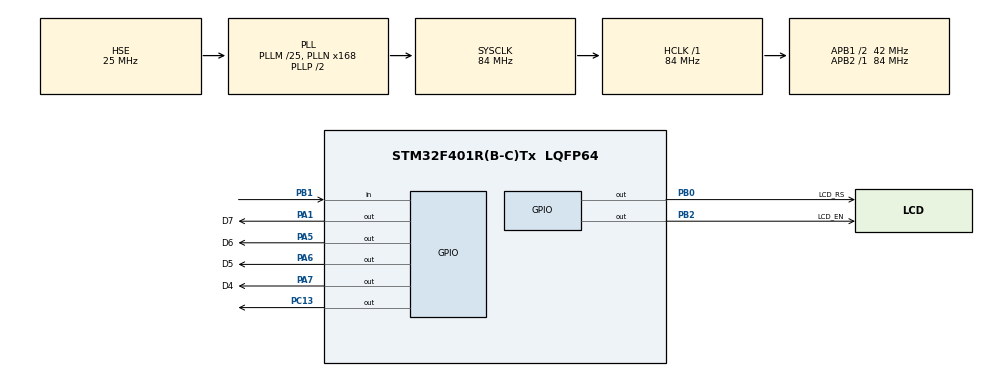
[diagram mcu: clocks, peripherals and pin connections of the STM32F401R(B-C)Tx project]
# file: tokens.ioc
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Mcu.Family=STM32F4
Mcu.Name=STM32F401R(B-C)Tx
Mcu.Package=LQFP64
NVIC.PriorityGroup=NVIC_PRIORITYGROUP_4
PA1.GPIO_Label=D7
PA1.GPIO_PuPd=GPIO_PULLUP
PA1.Signal=GPIO_Output
PA13.Mode=Serial_Wire
PA13.Signal=SYS_JTMS-SWDIO
PA14.Mode=Serial_Wire
PA14.Signal=SYS_JTCK-SWCLK
PA5.GPIO_Label=D6
PA5.GPIO_PuPd=GPIO_PULLUP
PA5.Signal=GPIO_Output
PA6.GPIO_Label=D5
PA6.GPIO_PuPd=GPIO_PULLUP
PA6.Signal=GPIO_Output
PA7.GPIO_Label=D4
PA7.GPIO_PuPd=GPIO_PULLUP
PA7.Signal=GPIO_Output
PB0.GPIO_Label=LCD_RS
PB0.GPIO_PuPd=GPIO_PULLUP
PB0.Signal=GPIO_Output
PB1.GPIO_PuPd=GPIO_PULLUP
PB1.Signal=GPIO_Input
PB2.GPIO_Label=LCD_EN
PB2.Signal=GPIO_Output
PC13-ANTI_TAMP.GPIO_PuPd=GPIO_PULLUP
PC13-ANTI_TAMP.Signal=GPIO_Output
PH0\ -\ OSC_IN.Mode=HSE-External-Oscillator
PH0\ -\ OSC_IN.Signal=RCC_OSC_IN
PH1\ -\ OSC_OUT.Mode=HSE-External-Oscillator
PH1\ -\ OSC_OUT.Signal=RCC_OSC_OUT
ProjectManager.HeapSize=0x200
ProjectManager.StackSize=0x400
ProjectManager.TargetToolchain=STM32CubeIDE
RCC.48MHZClocksFreq_Value=42000000
RCC.AHBFreq_Value=84000000
RCC.APB1CLKDivider=RCC_HCLK_DIV2
RCC.APB1Freq_Value=42000000
RCC.APB1TimFreq_Value=84000000
RCC.APB2Freq_Value=84000000
RCC.APB2TimFreq_Value=84000000
RCC.CortexFreq_Value=84000000
RCC.HCLKFreq_Value=84000000
RCC.HSE_VALUE=25000000
RCC.HSI_VALUE=16000000
RCC.LSE_VALUE=32768
RCC.PLLM=25
RCC.PLLN=168
RCC.PLLSourceVirtual=RCC_PLLSOURCE_HSE
RCC.SYSCLKFreq_VALUE=84000000
RCC.SYSCLKSource=RCC_SYSCLKSOURCE_PLLCLK
RCC.VCOOutputFreq_Value=168000000
TIM2.Period=0xffffffff
TIM2.Prescaler=38471
VP_TIM2_VS_ClockSourceINT.Mode=Internal
board=custom

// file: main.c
/* USER CODE BEGIN Header */
/**
  ******************************************************************************
  * @file           : main.c
  * @brief          : Main program body
  ******************************************************************************
  * @attention
  *
  * Copyright (c) 2024 STMicroelectronics.
  * All rights reserved.
  *
  * This software is licensed under terms that can be found in the LICENSE file
  * in the root directory of this software component.
  * If no LICENSE file comes with this software, it is provided AS-IS.
  *
  ******************************************************************************
  */
/* USER CODE END Header */
#include "main.h"

/* USER CODE BEGIN Includes */
#include "lcd.h"
/* USER CODE END Includes */

/* USER CODE BEGIN PM */
uint32_t token = 0;
uint16_t readValue = 0;
uint32_t clave = 0xA2F56789;
uint32_t valorcounter;
uint32_t  x;
uint16_t a;
uint32_t tiempo;
char texto[20];

/* USER CODE END PM */

TIM_HandleTypeDef htim2;

/* USER CODE BEGIN PV */
LCD_t lcd;
/* USER CODE END PV */

void SystemClock_Config(void);
static void MX_GPIO_Init(void);
static void MX_TIM2_Init(void);

int main(void)
{

  /* MCU Configuration--------------------------------------------------------*/

  /* Reset of all peripherals, Initializes the Flash interface and the Systick. */
  HAL_Init();

  /* Configure the system clock */
  SystemClock_Config();

  /* Initialize all configured peripherals */
  MX_GPIO_Init();
  MX_TIM2_Init();
  /* USER CODE BEGIN 2 */

 // HAL_ADC_Start_DMA(&hadc1,ADC_t,1);

  lcd.RS_port = LCD_RS_GPIO_Port;
  lcd.RS_pin = LCD_RS_Pin;
  //lcd.RW_port = LCD_RW_GPIO_Port;
  //lcd.RW_pin = LCD_RW_Pin;
  lcd.EN_port = LCD_EN_GPIO_Port;
  lcd.EN_pin = LCD_EN_Pin;
  lcd.D4_port = D4_GPIO_Port;
  lcd.D4_pin = D4_Pin;
  lcd.D5_port = D5_GPIO_Port;
  lcd.D5_pin = D5_Pin;
  lcd.D6_port = D6_GPIO_Port;
  lcd.D6_pin = D6_Pin;
  lcd.D7_port = D7_GPIO_Port;
  lcd.D7_pin = D7_Pin;
 // GPIOA, GPIO_PIN_1
  	//inicializamos el LCD

  //	lcd_setCursor(&lcd, 0, 0);
  //  lcd_print(&lcd, "Token:");
  /* USER CODE END 2 */

  /* Infinite loop */
  /* USER CODE BEGIN WHILE */

  HAL_TIM_Base_Start_IT(&htim2);

  while(HAL_GPIO_ReadPin(GPIOB,GPIO_PIN_1)==1);

  __HAL_TIM_SET_COUNTER(&htim2,0);

  while (1)
  {

	      valorcounter =(uint32_t) __HAL_TIM_GET_COUNTER(&htim2);

	      x = (uint32_t)valorcounter - tiempo;
		   if(30000 <= x)
		   {

			  //__HAL_TIM_SET_COUNTER(&htim2,0);
			 tiempo = __HAL_TIM_GET_COUNTER(&htim2);
			 calculatoken();

		   }

	 //  }

    /* USER CODE END WHILE */

  }
}

void SystemClock_Config(void)
{
  RCC_OscInitTypeDef RCC_OscInitStruct = {0};
  RCC_ClkInitTypeDef RCC_ClkInitStruct = {0};

  /** Configure the main internal regulator output voltage
  */
  __HAL_RCC_PWR_CLK_ENABLE();
  __HAL_PWR_VOLTAGESCALING_CONFIG(PWR_REGULATOR_VOLTAGE_SCALE2);

  /** Initializes the RCC Oscillators according to the specified parameters
  * in the RCC_OscInitTypeDef structure.
  */
  RCC_OscInitStruct.OscillatorType = RCC_OSCILLATORTYPE_HSE;
  RCC_OscInitStruct.HSEState = RCC_HSE_ON;
  RCC_OscInitStruct.PLL.PLLState = RCC_PLL_ON;
  RCC_OscInitStruct.PLL.PLLSource = RCC_PLLSOURCE_HSE;
  RCC_OscInitStruct.PLL.PLLM = 25;
  RCC_OscInitStruct.PLL.PLLN = 168;
  RCC_OscInitStruct.PLL.PLLP = RCC_PLLP_DIV2;
  RCC_OscInitStruct.PLL.PLLQ = 4;
  if (HAL_RCC_OscConfig(&RCC_OscInitStruct) != HAL_OK)
  {
    Error_Handler();
  }

  /** Initializes the CPU, AHB and APB buses clocks
  */
  RCC_ClkInitStruct.ClockType = RCC_CLOCKTYPE_HCLK|RCC_CLOCKTYPE_SYSCLK
                              |RCC_CLOCKTYPE_PCLK1|RCC_CLOCKTYPE_PCLK2;
  RCC_ClkInitStruct.SYSCLKSource = RCC_SYSCLKSOURCE_PLLCLK;
  RCC_ClkInitStruct.AHBCLKDivider = RCC_SYSCLK_DIV1;
  RCC_ClkInitStruct.APB1CLKDivider = RCC_HCLK_DIV2;
  RCC_ClkInitStruct.APB2CLKDivider = RCC_HCLK_DIV1;

  if (HAL_RCC_ClockConfig(&RCC_ClkInitStruct, FLASH_LATENCY_2) != HAL_OK)
  {
    Error_Handler();
  }
}

static void MX_TIM2_Init(void)
{

  TIM_ClockConfigTypeDef sClockSourceConfig = {0};
  TIM_MasterConfigTypeDef sMasterConfig = {0};

  htim2.Instance = TIM2;
  htim2.Init.Prescaler = 38471;
  htim2.Init.CounterMode = TIM_COUNTERMODE_UP;
  htim2.Init.Period = 0xffffffff;
  htim2.Init.ClockDivision = TIM_CLOCKDIVISION_DIV1;
  htim2.Init.AutoReloadPreload = TIM_AUTORELOAD_PRELOAD_DISABLE;
  if (HAL_TIM_Base_Init(&htim2) != HAL_OK)
  {
    Error_Handler();
  }
  sClockSourceConfig.ClockSource = TIM_CLOCKSOURCE_INTERNAL;
  if (HAL_TIM_ConfigClockSource(&htim2, &sClockSourceConfig) != HAL_OK)
  {
    Error_Handler();
  }
  sMasterConfig.MasterOutputTrigger = TIM_TRGO_RESET;
  sMasterConfig.MasterSlaveMode = TIM_MASTERSLAVEMODE_DISABLE;
  if (HAL_TIMEx_MasterConfigSynchronization(&htim2, &sMasterConfig) != HAL_OK)
  {
    Error_Handler();
  }

}

static void MX_GPIO_Init(void)
{
  GPIO_InitTypeDef GPIO_InitStruct = {0};

  /* GPIO Ports Clock Enable */
  __HAL_RCC_GPIOC_CLK_ENABLE();
  __HAL_RCC_GPIOH_CLK_ENABLE();
  __HAL_RCC_GPIOA_CLK_ENABLE();
  __HAL_RCC_GPIOB_CLK_ENABLE();

  /*Configure GPIO pin Output Level */
  HAL_GPIO_WritePin(GPIOC, GPIO_PIN_13, GPIO_PIN_RESET);

  /*Configure GPIO pin Output Level */
  HAL_GPIO_WritePin(GPIOA, D7_Pin|D6_Pin|D5_Pin|D4_Pin, GPIO_PIN_RESET);

  /*Configure GPIO pin Output Level */
  HAL_GPIO_WritePin(GPIOB, LCD_RS_Pin|LCD_EN_Pin, GPIO_PIN_RESET);

  /*Configure GPIO pin : PC13 */
  GPIO_InitStruct.Pin = GPIO_PIN_13;
  GPIO_InitStruct.Mode = GPIO_MODE_OUTPUT_PP;
  GPIO_InitStruct.Pull = GPIO_PULLUP;
  GPIO_InitStruct.Speed = GPIO_SPEED_FREQ_LOW;
  HAL_GPIO_Init(GPIOC, &GPIO_InitStruct);

  /*Configure GPIO pins : D7_Pin D6_Pin D5_Pin D4_Pin */
  GPIO_InitStruct.Pin = D7_Pin|D6_Pin|D5_Pin|D4_Pin;
  GPIO_InitStruct.Mode = GPIO_MODE_OUTPUT_PP;
  GPIO_InitStruct.Pull = GPIO_PULLUP;
  GPIO_InitStruct.Speed = GPIO_SPEED_FREQ_LOW;
  HAL_GPIO_Init(GPIOA, &GPIO_InitStruct);

  /*Configure GPIO pin : LCD_RS_Pin */
  GPIO_InitStruct.Pin = LCD_RS_Pin;
  GPIO_InitStruct.Mode = GPIO_MODE_OUTPUT_PP;
  GPIO_InitStruct.Pull = GPIO_PULLUP;
  GPIO_InitStruct.Speed = GPIO_SPEED_FREQ_LOW;
  HAL_GPIO_Init(LCD_RS_GPIO_Port, &GPIO_InitStruct);

  /*Configure GPIO pin : PB1 */
  GPIO_InitStruct.Pin = GPIO_PIN_1;
  GPIO_InitStruct.Mode = GPIO_MODE_INPUT;
  GPIO_InitStruct.Pull = GPIO_PULLUP;
  HAL_GPIO_Init(GPIOB, &GPIO_InitStruct);

  /*Configure GPIO pin : LCD_EN_Pin */
  GPIO_InitStruct.Pin = LCD_EN_Pin;
  GPIO_InitStruct.Mode = GPIO_MODE_OUTPUT_PP;
  GPIO_InitStruct.Pull = GPIO_NOPULL;
  GPIO_InitStruct.Speed = GPIO_SPEED_FREQ_LOW;
  HAL_GPIO_Init(LCD_EN_GPIO_Port, &GPIO_InitStruct);

}

/* USER CODE BEGIN 4 */
void calculatoken()
{
	token = tiempo^clave;

	lcd_begin(&lcd, 16, 2, LCD_5x8DOTS);
	lcd_setCursor(&lcd, 0, 0);
	lcd_print(&lcd, "Token: ");
    lcd_setCursor(&lcd, 0, 1);
    sprintf(texto, "%X", token);
    lcd_print(&lcd,texto);

}
/*void HAL_TIM_PeriodElapsedCallback(TIM_HandleTypeDef *htim)
{
  HAL_GPIO_TogglePin(GPIOC,GPIO_PIN_13);
}*/

/* USER CODE END 4 */

void Error_Handler(void)
{
  __disable_irq();
  while (1)
  {
  }
}
